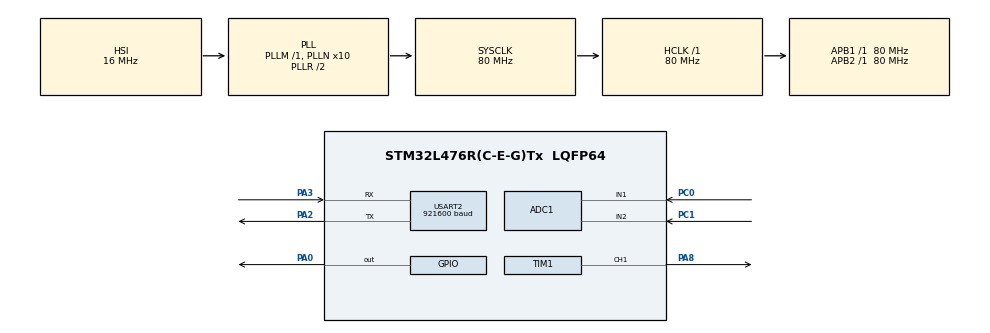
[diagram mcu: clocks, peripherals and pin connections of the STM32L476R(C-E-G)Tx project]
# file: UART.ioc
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ADC1.Channel-0\#ChannelRegularConversion=ADC_CHANNEL_1
ADC1.Channel-1\#ChannelRegularConversion=ADC_CHANNEL_2
ADC1.ContinuousConvMode=ENABLE
ADC1.NbrOfConversion=2
ADC1.NbrOfConversionFlag=1
ADC1.OffsetNumber-0\#ChannelRegularConversion=ADC_OFFSET_NONE
ADC1.OffsetNumber-1\#ChannelRegularConversion=ADC_OFFSET_NONE
ADC1.Rank-0\#ChannelRegularConversion=1
ADC1.Rank-1\#ChannelRegularConversion=2
ADC1.SamplingTime-0\#ChannelRegularConversion=ADC_SAMPLETIME_2CYCLES_5
ADC1.SamplingTime-1\#ChannelRegularConversion=ADC_SAMPLETIME_2CYCLES_5
ADC1.master=1
Dma.Request0=USART2_TX
Dma.USART2_TX.0.Direction=DMA_MEMORY_TO_PERIPH
Dma.USART2_TX.0.Instance=DMA1_Channel7
Dma.USART2_TX.0.MemDataAlignment=DMA_MDATAALIGN_BYTE
Dma.USART2_TX.0.MemInc=DMA_MINC_ENABLE
Dma.USART2_TX.0.Mode=DMA_NORMAL
Dma.USART2_TX.0.PeriphDataAlignment=DMA_PDATAALIGN_BYTE
Dma.USART2_TX.0.PeriphInc=DMA_PINC_DISABLE
Dma.USART2_TX.0.Priority=DMA_PRIORITY_LOW
Mcu.Family=STM32L4
Mcu.Name=STM32L476R(C-E-G)Tx
Mcu.Package=LQFP64
NVIC.DMA1_Channel7_IRQn=true\:0\:0\:false\:false\:true\:false\:true\:true
NVIC.PriorityGroup=NVIC_PRIORITYGROUP_4
NVIC.TIM7_IRQn=true\:0\:0\:false\:false\:true\:true\:true\:true
NVIC.USART2_IRQn=true\:0\:0\:false\:false\:true\:true\:true\:true
PA0.Signal=GPIO_Output
PA2.Mode=Asynchronous
PA2.Signal=USART2_TX
PA3.Mode=Asynchronous
PA3.Signal=USART2_RX
PA8.Signal=S_TIM1_CH1
PC0.Signal=ADCx_IN1
PC1.Signal=ADCx_IN2
PH0-OSC_IN\ (PH0).Mode=HSE-External-Oscillator
PH0-OSC_IN\ (PH0).Signal=RCC_OSC_IN
PH1-OSC_OUT\ (PH1).Mode=HSE-External-Oscillator
PH1-OSC_OUT\ (PH1).Signal=RCC_OSC_OUT
ProjectManager.HeapSize=0x200
ProjectManager.StackSize=0x400
ProjectManager.TargetToolchain=STM32CubeIDE
RCC.ADCFreq_Value=64000000
RCC.AHBFreq_Value=80000000
RCC.APB1Freq_Value=80000000
RCC.APB1TimFreq_Value=80000000
RCC.APB2Freq_Value=80000000
RCC.APB2TimFreq_Value=80000000
RCC.CortexFreq_Value=80000000
RCC.HCLKFreq_Value=80000000
RCC.HSE_VALUE=8000000
RCC.HSI_VALUE=16000000
RCC.LSE_VALUE=32768
RCC.MSI_VALUE=4000000
RCC.PLLN=10
RCC.PLLSourceVirtual=RCC_PLLSOURCE_HSI
RCC.PREFETCH_ENABLE=1
RCC.SYSCLKFreq_VALUE=80000000
RCC.SYSCLKSource=RCC_SYSCLKSOURCE_PLLCLK
RCC.USBFreq_Value=64000000
RCC.VCOOutputFreq_Value=160000000
SH.ADCx_IN1.0=ADC1_IN1,IN1-Single-Ended
SH.ADCx_IN2.0=ADC1_IN2,IN2-Single-Ended
SH.S_TIM1_CH1.0=TIM1_CH1,PWM Generation1 CH1
TIM1.Channel-PWM\ Generation1\ CH1=TIM_CHANNEL_1
TIM1.Prescaler=800-1
TIM7.Period=10000-1
TIM7.Prescaler=8000-1
USART2.BaudRate=921600
USART2.VirtualMode-Asynchronous=VM_ASYNC
VP_TIM1_VS_ClockSourceINT.Mode=Internal
VP_TIM7_VS_ClockSourceINT.Mode=Enable_Timer
board=NUCLEO-L476RG

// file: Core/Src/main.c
/* USER CODE BEGIN Header */
/**
  ******************************************************************************
  * @file           : main.c
  * @brief          : Main program body
  ******************************************************************************
  * @attention
  *
  * Copyright (c) 2023 STMicroelectronics.
  * All rights reserved.
  *
  * This software is licensed under terms that can be found in the LICENSE file
  * in the root directory of this software component.
  * If no LICENSE file comes with this software, it is provided AS-IS.
  *
  ******************************************************************************
  */
/* USER CODE END Header */
#include "main.h"

/* USER CODE BEGIN Includes */
#include <stdio.h>
/* USER CODE END Includes */

ADC_HandleTypeDef hadc1;

TIM_HandleTypeDef htim1;
TIM_HandleTypeDef htim7;

UART_HandleTypeDef huart2;
DMA_HandleTypeDef hdma_usart2_tx;

/* USER CODE BEGIN PV */
uint8_t rx_buffer[4];

uint8_t tx_busy = 0;

/* USER CODE END PV */

void SystemClock_Config(void);
static void MX_GPIO_Init(void);
static void MX_DMA_Init(void);
static void MX_USART2_UART_Init(void);
static void MX_TIM7_Init(void);
static void MX_TIM1_Init(void);
static void MX_ADC1_Init(void);

/* USER CODE BEGIN 0 */
int _write(int file, char *ptr, int len)
{
	while (tx_busy != 0) {/* Wait */}
  HAL_UART_Transmit_DMA(&huart2, (uint8_t *)ptr, len);
  tx_busy = 1;
  return len;
}

void HAL_UART_RxCpltCallback(UART_HandleTypeDef *huart)
{

	printf("Received: [%s]\r\n", rx_buffer);
	HAL_UART_Receive_IT(&huart2, rx_buffer, 4);
}

void HAL_UART_TxCpltCallback(UART_HandleTypeDef *huart)
{
	tx_busy = 0;
}

void HAL_TIM_PeriodElapsedCallback(TIM_HandleTypeDef *htim){
	static uint32_t counter = 0;
	printf("Counter: %ld\r\n", counter++);
}
/* USER CODE END 0 */

int main(void)
{

  /* MCU Configuration--------------------------------------------------------*/

  /* Reset of all peripherals, Initializes the Flash interface and the Systick. */
  HAL_Init();

  /* Configure the system clock */
  SystemClock_Config();

  /* Initialize all configured peripherals */
  MX_GPIO_Init();
  MX_DMA_Init();
  MX_USART2_UART_Init();
  MX_TIM7_Init();
  MX_TIM1_Init();
  MX_ADC1_Init();
  /* USER CODE BEGIN 2 */
  HAL_UART_Receive_IT(&huart2, rx_buffer, 4);
  HAL_TIM_Base_Start_IT(&htim7);

  TIM1->CCR1 = 50;
  HAL_TIM_PWM_Start(&htim1, TIM_CHANNEL_1);

  /* USER CODE END 2 */

  /* Infinite loop */
  /* USER CODE BEGIN WHILE */
  for (uint8_t idx =0; idx <= 0x0F; idx++)
	  printf("IDX: 0x%02X\r\n", idx);
  while (1)
  {
	HAL_ADC_Start(&hadc1);
	HAL_ADC_PollForConversion(&hadc1, 10);
	uint16_t adc_value = HAL_ADC_GetValue(&hadc1);
	HAL_ADC_PollForConversion(&hadc1, 10);
	uint16_t adc_value2 = HAL_ADC_GetValue(&hadc1);
	float adc_voltage = (adc_value/4096.0 * 5.5);
	float adc_voltage2 = (adc_value2/4096.0 * 5.5);
	printf("ADC Reading %f, %f\r\n", adc_voltage, adc_voltage2);
	HAL_Delay(100);
    /* USER CODE END WHILE */

  }
}

void SystemClock_Config(void)
{
  RCC_OscInitTypeDef RCC_OscInitStruct = {0};
  RCC_ClkInitTypeDef RCC_ClkInitStruct = {0};

  /** Configure the main internal regulator output voltage
  */
  if (HAL_PWREx_ControlVoltageScaling(PWR_REGULATOR_VOLTAGE_SCALE1) != HAL_OK)
  {
    Error_Handler();
  }

  /** Initializes the RCC Oscillators according to the specified parameters
  * in the RCC_OscInitTypeDef structure.
  */
  RCC_OscInitStruct.OscillatorType = RCC_OSCILLATORTYPE_HSI;
  RCC_OscInitStruct.HSIState = RCC_HSI_ON;
  RCC_OscInitStruct.HSICalibrationValue = RCC_HSICALIBRATION_DEFAULT;
  RCC_OscInitStruct.PLL.PLLState = RCC_PLL_ON;
  RCC_OscInitStruct.PLL.PLLSource = RCC_PLLSOURCE_HSI;
  RCC_OscInitStruct.PLL.PLLM = 1;
  RCC_OscInitStruct.PLL.PLLN = 10;
  RCC_OscInitStruct.PLL.PLLP = RCC_PLLP_DIV7;
  RCC_OscInitStruct.PLL.PLLQ = RCC_PLLQ_DIV2;
  RCC_OscInitStruct.PLL.PLLR = RCC_PLLR_DIV2;
  if (HAL_RCC_OscConfig(&RCC_OscInitStruct) != HAL_OK)
  {
    Error_Handler();
  }

  /** Initializes the CPU, AHB and APB buses clocks
  */
  RCC_ClkInitStruct.ClockType = RCC_CLOCKTYPE_HCLK|RCC_CLOCKTYPE_SYSCLK
                              |RCC_CLOCKTYPE_PCLK1|RCC_CLOCKTYPE_PCLK2;
  RCC_ClkInitStruct.SYSCLKSource = RCC_SYSCLKSOURCE_PLLCLK;
  RCC_ClkInitStruct.AHBCLKDivider = RCC_SYSCLK_DIV1;
  RCC_ClkInitStruct.APB1CLKDivider = RCC_HCLK_DIV1;
  RCC_ClkInitStruct.APB2CLKDivider = RCC_HCLK_DIV1;

  if (HAL_RCC_ClockConfig(&RCC_ClkInitStruct, FLASH_LATENCY_4) != HAL_OK)
  {
    Error_Handler();
  }
}

static void MX_ADC1_Init(void)
{

  ADC_MultiModeTypeDef multimode = {0};
  ADC_ChannelConfTypeDef sConfig = {0};

  /** Common config
  */
  hadc1.Instance = ADC1;
  hadc1.Init.ClockPrescaler = ADC_CLOCK_ASYNC_DIV1;
  hadc1.Init.Resolution = ADC_RESOLUTION_12B;
  hadc1.Init.DataAlign = ADC_DATAALIGN_RIGHT;
  hadc1.Init.ScanConvMode = ADC_SCAN_ENABLE;
  hadc1.Init.EOCSelection = ADC_EOC_SINGLE_CONV;
  hadc1.Init.LowPowerAutoWait = DISABLE;
  hadc1.Init.ContinuousConvMode = ENABLE;
  hadc1.Init.NbrOfConversion = 2;
  hadc1.Init.DiscontinuousConvMode = DISABLE;
  hadc1.Init.ExternalTrigConv = ADC_SOFTWARE_START;
  hadc1.Init.ExternalTrigConvEdge = ADC_EXTERNALTRIGCONVEDGE_NONE;
  hadc1.Init.DMAContinuousRequests = DISABLE;
  hadc1.Init.Overrun = ADC_OVR_DATA_PRESERVED;
  hadc1.Init.OversamplingMode = DISABLE;
  if (HAL_ADC_Init(&hadc1) != HAL_OK)
  {
    Error_Handler();
  }

  /** Configure the ADC multi-mode
  */
  multimode.Mode = ADC_MODE_INDEPENDENT;
  if (HAL_ADCEx_MultiModeConfigChannel(&hadc1, &multimode) != HAL_OK)
  {
    Error_Handler();
  }

  /** Configure Regular Channel
  */
  sConfig.Channel = ADC_CHANNEL_1;
  sConfig.Rank = ADC_REGULAR_RANK_1;
  sConfig.SamplingTime = ADC_SAMPLETIME_2CYCLES_5;
  sConfig.SingleDiff = ADC_SINGLE_ENDED;
  sConfig.OffsetNumber = ADC_OFFSET_NONE;
  sConfig.Offset = 0;
  if (HAL_ADC_ConfigChannel(&hadc1, &sConfig) != HAL_OK)
  {
    Error_Handler();
  }

  /** Configure Regular Channel
  */
  sConfig.Channel = ADC_CHANNEL_2;
  sConfig.Rank = ADC_REGULAR_RANK_2;
  if (HAL_ADC_ConfigChannel(&hadc1, &sConfig) != HAL_OK)
  {
    Error_Handler();
  }

}

static void MX_TIM1_Init(void)
{

  TIM_ClockConfigTypeDef sClockSourceConfig = {0};
  TIM_MasterConfigTypeDef sMasterConfig = {0};
  TIM_OC_InitTypeDef sConfigOC = {0};
  TIM_BreakDeadTimeConfigTypeDef sBreakDeadTimeConfig = {0};

  htim1.Instance = TIM1;
  htim1.Init.Prescaler = 800-1;
  htim1.Init.CounterMode = TIM_COUNTERMODE_UP;
  htim1.Init.Period = 65535;
  htim1.Init.ClockDivision = TIM_CLOCKDIVISION_DIV1;
  htim1.Init.RepetitionCounter = 0;
  htim1.Init.AutoReloadPreload = TIM_AUTORELOAD_PRELOAD_DISABLE;
  if (HAL_TIM_Base_Init(&htim1) != HAL_OK)
  {
    Error_Handler();
  }
  sClockSourceConfig.ClockSource = TIM_CLOCKSOURCE_INTERNAL;
  if (HAL_TIM_ConfigClockSource(&htim1, &sClockSourceConfig) != HAL_OK)
  {
    Error_Handler();
  }
  if (HAL_TIM_PWM_Init(&htim1) != HAL_OK)
  {
    Error_Handler();
  }
  sMasterConfig.MasterOutputTrigger = TIM_TRGO_RESET;
  sMasterConfig.MasterOutputTrigger2 = TIM_TRGO2_RESET;
  sMasterConfig.MasterSlaveMode = TIM_MASTERSLAVEMODE_DISABLE;
  if (HAL_TIMEx_MasterConfigSynchronization(&htim1, &sMasterConfig) != HAL_OK)
  {
    Error_Handler();
  }
  sConfigOC.OCMode = TIM_OCMODE_PWM1;
  sConfigOC.Pulse = 0;
  sConfigOC.OCPolarity = TIM_OCPOLARITY_HIGH;
  sConfigOC.OCNPolarity = TIM_OCNPOLARITY_HIGH;
  sConfigOC.OCFastMode = TIM_OCFAST_DISABLE;
  sConfigOC.OCIdleState = TIM_OCIDLESTATE_RESET;
  sConfigOC.OCNIdleState = TIM_OCNIDLESTATE_RESET;
  if (HAL_TIM_PWM_ConfigChannel(&htim1, &sConfigOC, TIM_CHANNEL_1) != HAL_OK)
  {
    Error_Handler();
  }
  sBreakDeadTimeConfig.OffStateRunMode = TIM_OSSR_DISABLE;
  sBreakDeadTimeConfig.OffStateIDLEMode = TIM_OSSI_DISABLE;
  sBreakDeadTimeConfig.LockLevel = TIM_LOCKLEVEL_OFF;
  sBreakDeadTimeConfig.DeadTime = 0;
  sBreakDeadTimeConfig.BreakState = TIM_BREAK_DISABLE;
  sBreakDeadTimeConfig.BreakPolarity = TIM_BREAKPOLARITY_HIGH;
  sBreakDeadTimeConfig.BreakFilter = 0;
  sBreakDeadTimeConfig.Break2State = TIM_BREAK2_DISABLE;
  sBreakDeadTimeConfig.Break2Polarity = TIM_BREAK2POLARITY_HIGH;
  sBreakDeadTimeConfig.Break2Filter = 0;
  sBreakDeadTimeConfig.AutomaticOutput = TIM_AUTOMATICOUTPUT_DISABLE;
  if (HAL_TIMEx_ConfigBreakDeadTime(&htim1, &sBreakDeadTimeConfig) != HAL_OK)
  {
    Error_Handler();
  }
  HAL_TIM_MspPostInit(&htim1);

}

static void MX_TIM7_Init(void)
{

  TIM_MasterConfigTypeDef sMasterConfig = {0};

  htim7.Instance = TIM7;
  htim7.Init.Prescaler = 8000-1;
  htim7.Init.CounterMode = TIM_COUNTERMODE_UP;
  htim7.Init.Period = 10000-1;
  htim7.Init.AutoReloadPreload = TIM_AUTORELOAD_PRELOAD_DISABLE;
  if (HAL_TIM_Base_Init(&htim7) != HAL_OK)
  {
    Error_Handler();
  }
  sMasterConfig.MasterOutputTrigger = TIM_TRGO_RESET;
  sMasterConfig.MasterSlaveMode = TIM_MASTERSLAVEMODE_DISABLE;
  if (HAL_TIMEx_MasterConfigSynchronization(&htim7, &sMasterConfig) != HAL_OK)
  {
    Error_Handler();
  }

}

static void MX_USART2_UART_Init(void)
{

  huart2.Instance = USART2;
  huart2.Init.BaudRate = 921600;
  huart2.Init.WordLength = UART_WORDLENGTH_8B;
  huart2.Init.StopBits = UART_STOPBITS_1;
  huart2.Init.Parity = UART_PARITY_NONE;
  huart2.Init.Mode = UART_MODE_TX_RX;
  huart2.Init.HwFlowCtl = UART_HWCONTROL_NONE;
  huart2.Init.OverSampling = UART_OVERSAMPLING_16;
  huart2.Init.OneBitSampling = UART_ONE_BIT_SAMPLE_DISABLE;
  huart2.AdvancedInit.AdvFeatureInit = UART_ADVFEATURE_NO_INIT;
  if (HAL_UART_Init(&huart2) != HAL_OK)
  {
    Error_Handler();
  }

}

static void MX_DMA_Init(void)
{

  /* DMA controller clock enable */
  __HAL_RCC_DMA1_CLK_ENABLE();

  /* DMA interrupt init */
  /* DMA1_Channel7_IRQn interrupt configuration */
  HAL_NVIC_SetPriority(DMA1_Channel7_IRQn, 0, 0);
  HAL_NVIC_EnableIRQ(DMA1_Channel7_IRQn);

}

static void MX_GPIO_Init(void)
{
  GPIO_InitTypeDef GPIO_InitStruct = {0};

  /* GPIO Ports Clock Enable */
  __HAL_RCC_GPIOH_CLK_ENABLE();
  __HAL_RCC_GPIOC_CLK_ENABLE();
  __HAL_RCC_GPIOA_CLK_ENABLE();

  /*Configure GPIO pin Output Level */
  HAL_GPIO_WritePin(GPIOA, GPIO_PIN_0, GPIO_PIN_RESET);

  /*Configure GPIO pin : PA0 */
  GPIO_InitStruct.Pin = GPIO_PIN_0;
  GPIO_InitStruct.Mode = GPIO_MODE_OUTPUT_PP;
  GPIO_InitStruct.Pull = GPIO_NOPULL;
  GPIO_InitStruct.Speed = GPIO_SPEED_FREQ_LOW;
  HAL_GPIO_Init(GPIOA, &GPIO_InitStruct);

}

void Error_Handler(void)
{
  __disable_irq();
  while (1)
  {
  }
}
